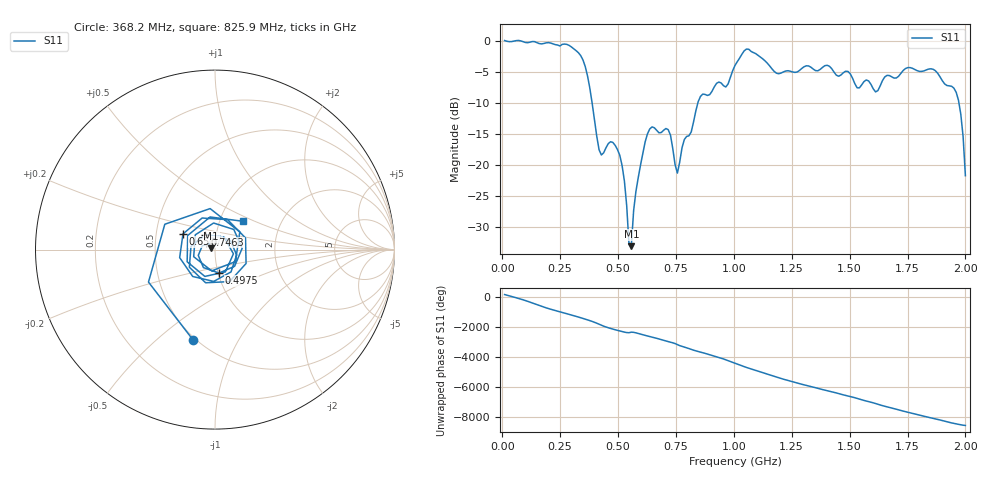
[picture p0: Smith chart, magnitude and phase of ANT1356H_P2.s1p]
!Created with skrf (http://scikit-rf.org).
# Hz S RI R 50.0
!freq ReS11 ImS11
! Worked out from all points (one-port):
!   201 points, 10 MHz to 2 GHz, reference 50 ohm
!   lowest |S11| = -33.1 dB at 557.2 MHz (marker M1), VSWR 1.05, Z = 47.9 + j0.703 ohm
!   |S11| at or under -10 dB: 387.8 MHz to 844.8 MHz (457.1 MHz wide, 74.2 % of centre); 1.972 GHz to end of sweep
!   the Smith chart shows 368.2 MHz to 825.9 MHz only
!   S11 on the Smith chart (normalised r, x): 368.2 MHz: 0.48, -0.67; 497.6 MHz: 1.01, -0.27; 656.8 MHz: 0.69, +0.13; 746.3 MHz: 0.88, +0.15; 825.9 MHz: 1.29, +0.43
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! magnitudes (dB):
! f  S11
! 10 MHz  0.0
! 258.8 MHz  -0.6
! 368.2 MHz  -5.7
! 417.9 MHz  -17.6
! 497.6 MHz  -17.5
! 507.5 MHz  -18.5
! 527.4 MHz  -22.6
! 547.3 MHz  -32.8
! 557.2 MHz  -33.1
! 567.2 MHz  -27.4
! 597 MHz  -20.0
! 626.9 MHz  -15.0
! 656.8 MHz  -14.0
! 716.5 MHz  -14.3
! 746.3 MHz  -20.0
! 756.2 MHz  -21.3
! 825.9 MHz  -13.1
! 855.8 MHz  -9.0
! 965.2 MHz  -7.5
! 1.005 GHz  -4.0
! 1.065 GHz  -1.4
! 1.254 GHz  -5.1
! 1.502 GHz  -5.3
! 1.612 GHz  -8.3
! 1.751 GHz  -4.4
! 1.96 GHz  -8.3
! 1.98 GHz  -11.8
! 2 GHz  -21.7
